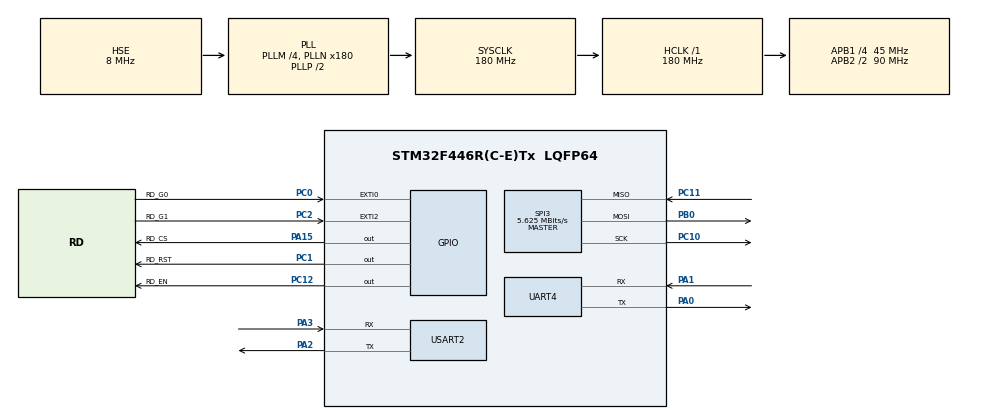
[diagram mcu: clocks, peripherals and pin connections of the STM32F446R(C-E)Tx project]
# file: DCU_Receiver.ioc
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Dma.Request0=USART2_RX
Dma.Request1=USART2_TX
Dma.Request2=SPI3_TX
Dma.Request3=SPI3_RX
Dma.Request4=UART4_RX
Dma.Request5=UART4_TX
Dma.SPI3_RX.3.Direction=DMA_PERIPH_TO_MEMORY
Dma.SPI3_RX.3.FIFOMode=DMA_FIFOMODE_DISABLE
Dma.SPI3_RX.3.Instance=DMA1_Stream0
Dma.SPI3_RX.3.MemDataAlignment=DMA_MDATAALIGN_BYTE
Dma.SPI3_RX.3.MemInc=DMA_MINC_ENABLE
Dma.SPI3_RX.3.Mode=DMA_NORMAL
Dma.SPI3_RX.3.PeriphDataAlignment=DMA_PDATAALIGN_BYTE
Dma.SPI3_RX.3.PeriphInc=DMA_PINC_DISABLE
Dma.SPI3_RX.3.Priority=DMA_PRIORITY_LOW
Dma.SPI3_TX.2.Direction=DMA_MEMORY_TO_PERIPH
Dma.SPI3_TX.2.FIFOMode=DMA_FIFOMODE_DISABLE
Dma.SPI3_TX.2.Instance=DMA1_Stream7
Dma.SPI3_TX.2.MemDataAlignment=DMA_MDATAALIGN_BYTE
Dma.SPI3_TX.2.MemInc=DMA_MINC_ENABLE
Dma.SPI3_TX.2.Mode=DMA_NORMAL
Dma.SPI3_TX.2.PeriphDataAlignment=DMA_PDATAALIGN_BYTE
Dma.SPI3_TX.2.PeriphInc=DMA_PINC_DISABLE
Dma.SPI3_TX.2.Priority=DMA_PRIORITY_LOW
Dma.UART4_RX.4.Direction=DMA_PERIPH_TO_MEMORY
Dma.UART4_RX.4.FIFOMode=DMA_FIFOMODE_DISABLE
Dma.UART4_RX.4.Instance=DMA1_Stream2
Dma.UART4_RX.4.MemDataAlignment=DMA_MDATAALIGN_BYTE
Dma.UART4_RX.4.MemInc=DMA_MINC_ENABLE
Dma.UART4_RX.4.Mode=DMA_CIRCULAR
Dma.UART4_RX.4.PeriphDataAlignment=DMA_PDATAALIGN_BYTE
Dma.UART4_RX.4.PeriphInc=DMA_PINC_DISABLE
Dma.UART4_RX.4.Priority=DMA_PRIORITY_LOW
Dma.UART4_TX.5.Direction=DMA_MEMORY_TO_PERIPH
Dma.UART4_TX.5.FIFOMode=DMA_FIFOMODE_DISABLE
Dma.UART4_TX.5.Instance=DMA1_Stream4
Dma.UART4_TX.5.MemDataAlignment=DMA_MDATAALIGN_BYTE
Dma.UART4_TX.5.MemInc=DMA_MINC_ENABLE
Dma.UART4_TX.5.Mode=DMA_NORMAL
Dma.UART4_TX.5.PeriphDataAlignment=DMA_PDATAALIGN_BYTE
Dma.UART4_TX.5.PeriphInc=DMA_PINC_DISABLE
Dma.UART4_TX.5.Priority=DMA_PRIORITY_LOW
Dma.USART2_RX.0.Direction=DMA_PERIPH_TO_MEMORY
Dma.USART2_RX.0.FIFOMode=DMA_FIFOMODE_DISABLE
Dma.USART2_RX.0.Instance=DMA1_Stream5
Dma.USART2_RX.0.MemDataAlignment=DMA_MDATAALIGN_BYTE
Dma.USART2_RX.0.MemInc=DMA_MINC_ENABLE
Dma.USART2_RX.0.Mode=DMA_CIRCULAR
Dma.USART2_RX.0.PeriphDataAlignment=DMA_PDATAALIGN_BYTE
Dma.USART2_RX.0.PeriphInc=DMA_PINC_DISABLE
Dma.USART2_RX.0.Priority=DMA_PRIORITY_LOW
Dma.USART2_TX.1.Direction=DMA_MEMORY_TO_PERIPH
Dma.USART2_TX.1.FIFOMode=DMA_FIFOMODE_DISABLE
Dma.USART2_TX.1.Instance=DMA1_Stream6
Dma.USART2_TX.1.MemDataAlignment=DMA_MDATAALIGN_BYTE
Dma.USART2_TX.1.MemInc=DMA_MINC_ENABLE
Dma.USART2_TX.1.Mode=DMA_NORMAL
Dma.USART2_TX.1.PeriphDataAlignment=DMA_PDATAALIGN_BYTE
Dma.USART2_TX.1.PeriphInc=DMA_PINC_DISABLE
Dma.USART2_TX.1.Priority=DMA_PRIORITY_LOW
FREERTOS.CountingSemaphores01=uartTxSem,1,Dynamic,NULL,0
FREERTOS.Events01=radioEvents,Dynamic,NULL
FREERTOS.Mutexes01=spiMutex,osMutexPrioInherit,spiMutexCtrlBlock,NULL;uartTxMutex,Dynamic,NULL,Available;logMutex,Dynamic,NULL,Available
FREERTOS.Queues01=rxDataQueue,4,64,1,Dynamic,NULL,NULL;uartRxQueue,8,FEB_UART_RxQueueMsg_t,0,Dynamic,NULL,NULL
FREERTOS.Tasks01=uartRxTask,24,1024,StartUartRxTask,As weak,NULL,Dynamic,NULL,NULL;radioTask,40,512,RadioTask,Default,NULL,Dynamic,NULL,NULL
FREERTOS.Tasks02=radioTask,40,512,RadioTask,Default,NULL,Dynamic,NULL,NULL
FREERTOS.Timers01=rxTimeoutTimer,rxTimeoutCallback,osTimerOnce,NULL,NULL,NULL
FREERTOS.configENABLE_FPU=1
FREERTOS.configTOTAL_HEAP_SIZE=20480
FREERTOS.configUSE_TIMERS=1
Mcu.Family=STM32F4
Mcu.Name=STM32F446R(C-E)Tx
Mcu.Package=LQFP64
NVIC.DMA1_Stream0_IRQn=true\:5\:0\:false\:false\:true\:true\:false\:true\:true
NVIC.DMA1_Stream2_IRQn=true\:5\:0\:false\:false\:true\:true\:false\:true\:true
NVIC.DMA1_Stream4_IRQn=true\:5\:0\:false\:false\:true\:true\:false\:true\:true
NVIC.DMA1_Stream5_IRQn=true\:5\:0\:false\:false\:true\:true\:false\:true\:true
NVIC.DMA1_Stream6_IRQn=true\:5\:0\:false\:false\:true\:true\:false\:true\:true
NVIC.DMA1_Stream7_IRQn=true\:5\:0\:false\:false\:true\:true\:false\:true\:true
NVIC.EXTI0_IRQn=true\:5\:0\:false\:false\:true\:true\:true\:true\:true
NVIC.EXTI2_IRQn=true\:5\:0\:false\:false\:true\:true\:true\:true\:true
NVIC.PriorityGroup=NVIC_PRIORITYGROUP_4
NVIC.SPI3_IRQn=true\:5\:0\:false\:false\:true\:true\:true\:true\:true
NVIC.TIM8_TRG_COM_TIM14_IRQn=true\:15\:0\:false\:false\:true\:false\:false\:true\:true
NVIC.TimeBase=TIM8_TRG_COM_TIM14_IRQn
NVIC.TimeBaseIP=TIM14
NVIC.UART4_IRQn=true\:5\:0\:false\:false\:true\:true\:true\:true\:true
NVIC.USART2_IRQn=true\:5\:0\:false\:false\:true\:true\:true\:true\:true
PA0-WKUP.Mode=Asynchronous
PA0-WKUP.Signal=UART4_TX
PA1.Mode=Asynchronous
PA1.Signal=UART4_RX
PA13.Mode=Serial_Wire
PA13.Signal=SYS_JTMS-SWDIO
PA14.Mode=Serial_Wire
PA14.Signal=SYS_JTCK-SWCLK
PA15.GPIO_Label=RD_CS
PA15.PinState=GPIO_PIN_SET
PA15.Signal=GPIO_Output
PA2.Mode=Asynchronous
PA2.Signal=USART2_TX
PA3.Mode=Asynchronous
PA3.Signal=USART2_RX
PB0.Mode=Full_Duplex_Master
PB0.Signal=SPI3_MOSI
PC0.GPIO_Label=RD_G0
PC0.GPIO_ModeDefaultEXTI=GPIO_MODE_IT_RISING
PC0.Signal=GPXTI0
PC1.GPIO_Label=RD_RST
PC1.Signal=GPIO_Output
PC10.Mode=Full_Duplex_Master
PC10.Signal=SPI3_SCK
PC11.Mode=Full_Duplex_Master
PC11.Signal=SPI3_MISO
PC12.GPIO_Label=RD_EN
PC12.Signal=GPIO_Output
PC2.GPIO_Label=RD_G1
PC2.GPIO_ModeDefaultEXTI=GPIO_MODE_IT_RISING
PC2.Signal=GPXTI2
PH0-OSC_IN.Mode=HSE-External-Oscillator
PH0-OSC_IN.Signal=RCC_OSC_IN
PH1-OSC_OUT.Mode=HSE-External-Oscillator
PH1-OSC_OUT.Signal=RCC_OSC_OUT
ProjectManager.HeapSize=0x200
ProjectManager.StackSize=0x400
ProjectManager.TargetToolchain=CMake
RCC.AHBFreq_Value=180000000
RCC.APB1CLKDivider=RCC_HCLK_DIV4
RCC.APB1Freq_Value=45000000
RCC.APB1TimFreq_Value=90000000
RCC.APB2CLKDivider=RCC_HCLK_DIV2
RCC.APB2Freq_Value=90000000
RCC.APB2TimFreq_Value=180000000
RCC.CortexFreq_Value=180000000
RCC.HCLKFreq_Value=180000000
RCC.HSE_VALUE=8000000
RCC.PLLM=4
RCC.PLLN=180
RCC.PLLSourceVirtual=RCC_PLLSOURCE_HSE
RCC.SYSCLKFreq_VALUE=180000000
RCC.SYSCLKSource=RCC_SYSCLKSOURCE_PLLCLK
RCC.USBFreq_Value=180000000
RCC.VCOOutputFreq_Value=360000000
SPI3.BaudRatePrescaler=SPI_BAUDRATEPRESCALER_8
SPI3.CalculateBaudRate=5.625 MBits/s
SPI3.Direction=SPI_DIRECTION_2LINES
SPI3.Mode=SPI_MODE_MASTER
SPI3.VirtualType=VM_MASTER
UART4.VirtualMode=Asynchronous
USART2.VirtualMode=VM_ASYNC
VP_FREERTOS_VS_CMSIS_V2.Mode=CMSIS_V2
VP_SYS_VS_tim14.Mode=TIM14
board=custom

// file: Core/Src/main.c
/* USER CODE BEGIN Header */
/**
  ******************************************************************************
  * @file           : main.c
  * @brief          : Main program body
  ******************************************************************************
  * @attention
  *
  * Copyright (c) 2026 STMicroelectronics.
  * All rights reserved.
  *
  * This software is licensed under terms that can be found in the LICENSE file
  * in the root directory of this software component.
  * If no LICENSE file comes with this software, it is provided AS-IS.
  *
  ******************************************************************************
  */
/* USER CODE END Header */
#include "main.h"
#include "cmsis_os.h"
#include "dma.h"
#include "spi.h"
#include "usart.h"
#include "gpio.h"

/* USER CODE BEGIN Includes */
#include "feb_uart.h"
/* USER CODE END Includes */

void SystemClock_Config(void);
void MX_FREERTOS_Init(void);

int main(void)
{

  /* MCU Configuration--------------------------------------------------------*/

  /* Reset of all peripherals, Initializes the Flash interface and the Systick. */
  HAL_Init();

  /* Configure the system clock */
  SystemClock_Config();

  /* Initialize all configured peripherals */
  MX_GPIO_Init();
  MX_DMA_Init();
  MX_USART2_UART_Init();
  MX_SPI3_Init();
  MX_UART4_Init();

  /* Init scheduler */
  osKernelInitialize();  /* Call init function for freertos objects (in cmsis_os2.c) */
  MX_FREERTOS_Init();

  /* Start scheduler */
  osKernelStart();

  /* We should never get here as control is now taken by the scheduler */

  /* Infinite loop */
  while (1)
  {

  }
}

void SystemClock_Config(void)
{
  RCC_OscInitTypeDef RCC_OscInitStruct = {0};
  RCC_ClkInitTypeDef RCC_ClkInitStruct = {0};

  /** Configure the main internal regulator output voltage
  */
  __HAL_RCC_PWR_CLK_ENABLE();
  __HAL_PWR_VOLTAGESCALING_CONFIG(PWR_REGULATOR_VOLTAGE_SCALE1);

  /** Initializes the RCC Oscillators according to the specified parameters
  * in the RCC_OscInitTypeDef structure.
  */
  RCC_OscInitStruct.OscillatorType = RCC_OSCILLATORTYPE_HSE;
  RCC_OscInitStruct.HSEState = RCC_HSE_ON;
  RCC_OscInitStruct.PLL.PLLState = RCC_PLL_ON;
  RCC_OscInitStruct.PLL.PLLSource = RCC_PLLSOURCE_HSE;
  RCC_OscInitStruct.PLL.PLLM = 4;
  RCC_OscInitStruct.PLL.PLLN = 180;
  RCC_OscInitStruct.PLL.PLLP = RCC_PLLP_DIV2;
  RCC_OscInitStruct.PLL.PLLQ = 2;
  RCC_OscInitStruct.PLL.PLLR = 2;
  if (HAL_RCC_OscConfig(&RCC_OscInitStruct) != HAL_OK)
  {
    Error_Handler();
  }

  /** Activate the Over-Drive mode
  */
  if (HAL_PWREx_EnableOverDrive() != HAL_OK)
  {
    Error_Handler();
  }

  /** Initializes the CPU, AHB and APB buses clocks
  */
  RCC_ClkInitStruct.ClockType = RCC_CLOCKTYPE_HCLK|RCC_CLOCKTYPE_SYSCLK
                              |RCC_CLOCKTYPE_PCLK1|RCC_CLOCKTYPE_PCLK2;
  RCC_ClkInitStruct.SYSCLKSource = RCC_SYSCLKSOURCE_PLLCLK;
  RCC_ClkInitStruct.AHBCLKDivider = RCC_SYSCLK_DIV1;
  RCC_ClkInitStruct.APB1CLKDivider = RCC_HCLK_DIV4;
  RCC_ClkInitStruct.APB2CLKDivider = RCC_HCLK_DIV2;

  if (HAL_RCC_ClockConfig(&RCC_ClkInitStruct, FLASH_LATENCY_5) != HAL_OK)
  {
    Error_Handler();
  }
}

/* USER CODE BEGIN 4 */
/* UART Callbacks - route to FEB UART Library */
void HAL_UART_TxCpltCallback(UART_HandleTypeDef *huart)
{
  FEB_UART_TxCpltCallback(huart);
}

void HAL_UARTEx_RxEventCallback(UART_HandleTypeDef *huart, uint16_t Size)
{
  FEB_UART_RxEventCallback(huart, Size);
}
/* USER CODE END 4 */

void HAL_TIM_PeriodElapsedCallback(TIM_HandleTypeDef *htim)
{
  if (htim->Instance == TIM14)
  {
    HAL_IncTick();
  }
}

void Error_Handler(void)
{
  __disable_irq();
  while (1)
  {
  }
}

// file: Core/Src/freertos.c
/* USER CODE BEGIN Header */
/**
  ******************************************************************************
  * File Name          : freertos.c
  * Description        : Code for freertos applications
  ******************************************************************************
  * @attention
  *
  * Copyright (c) 2026 STMicroelectronics.
  * All rights reserved.
  *
  * This software is licensed under terms that can be found in the LICENSE file
  * in the root directory of this software component.
  * If no LICENSE file comes with this software, it is provided AS-IS.
  *
  ******************************************************************************
  */
/* USER CODE END Header */

#include "FreeRTOS.h"
#include "task.h"
#include "main.h"
#include "cmsis_os.h"

/* USER CODE BEGIN Includes */
#include "FEB_Task_Radio.h"
#include "feb_rtos_utils.h"
#include "feb_uart.h"
#include "FEB_Main.h"
/* USER CODE END Includes */

typedef StaticSemaphore_t osStaticMutexDef_t;

/* USER CODE BEGIN Variables */
/* Second UART (UART4) console: thread + sync primitives for FEB_UART_INSTANCE_2 */
osThreadId_t uart4RxTaskHandle;
const osThreadAttr_t uart4RxTask_attributes = {
  .name = "uart4RxTask",
  .stack_size = 1024 * 4,
  .priority = (osPriority_t) osPriorityNormal,
};
osMutexId_t uartTxMutex2Handle;
const osMutexAttr_t uartTxMutex2_attributes = {
  .name = "uartTxMutex2"
};
osSemaphoreId_t uartTxSem2Handle;
const osSemaphoreAttr_t uartTxSem2_attributes = {
  .name = "uartTxSem2"
};
osMessageQueueId_t uartRxQueue2Handle;
const osMessageQueueAttr_t uartRxQueue2_attributes = {
  .name = "uartRxQueue2"
};
/* USER CODE END Variables */
/* Definitions for uartRxTask */
osThreadId_t uartRxTaskHandle;
const osThreadAttr_t uartRxTask_attributes = {
  .name = "uartRxTask",
  .stack_size = 1024 * 4,
  .priority = (osPriority_t) osPriorityNormal,
};
/* Definitions for radioTask */
osThreadId_t radioTaskHandle;
const osThreadAttr_t radioTask_attributes = {
  .name = "radioTask",
  .stack_size = 512 * 4,
  .priority = (osPriority_t) osPriorityHigh,
};
/* Definitions for rxDataQueue */
osMessageQueueId_t rxDataQueueHandle;
const osMessageQueueAttr_t rxDataQueue_attributes = {
  .name = "rxDataQueue"
};
/* Definitions for uartRxQueue */
osMessageQueueId_t uartRxQueueHandle;
const osMessageQueueAttr_t uartRxQueue_attributes = {
  .name = "uartRxQueue"
};
/* Definitions for rxTimeoutTimer */
osTimerId_t rxTimeoutTimerHandle;
const osTimerAttr_t rxTimeoutTimer_attributes = {
  .name = "rxTimeoutTimer"
};
/* Definitions for spiMutex */
osMutexId_t spiMutexHandle;
osStaticMutexDef_t spiMutexCtrlBlock;
const osMutexAttr_t spiMutex_attributes = {
  .name = "spiMutex",
  .cb_mem = &spiMutexCtrlBlock,
  .cb_size = sizeof(spiMutexCtrlBlock),
};
/* Definitions for uartTxMutex */
osMutexId_t uartTxMutexHandle;
const osMutexAttr_t uartTxMutex_attributes = {
  .name = "uartTxMutex"
};
/* Definitions for logMutex */
osMutexId_t logMutexHandle;
const osMutexAttr_t logMutex_attributes = {
  .name = "logMutex"
};
/* Definitions for uartTxSem */
osSemaphoreId_t uartTxSemHandle;
const osSemaphoreAttr_t uartTxSem_attributes = {
  .name = "uartTxSem"
};
/* Definitions for radioEvents */
osEventFlagsId_t radioEventsHandle;
const osEventFlagsAttr_t radioEvents_attributes = {
  .name = "radioEvents"
};

void StartUartRxTask(void *argument);
void RadioTask(void *argument);
void rxTimeoutCallback(void *argument);

void MX_FREERTOS_Init(void); /* (MISRA C 2004 rule 8.1) */

void MX_FREERTOS_Init(void) {
  /* Create the mutex(es) */
  /* creation of spiMutex */
  spiMutexHandle = osMutexNew(&spiMutex_attributes);

  /* creation of uartTxMutex */
  uartTxMutexHandle = osMutexNew(&uartTxMutex_attributes);

  /* creation of logMutex */
  logMutexHandle = osMutexNew(&logMutex_attributes);

  /* USER CODE BEGIN RTOS_MUTEX */
  uartTxMutex2Handle = osMutexNew(&uartTxMutex2_attributes);
  /* USER CODE END RTOS_MUTEX */

  /* Create the semaphores(s) */
  /* creation of uartTxSem */
  uartTxSemHandle = osSemaphoreNew(1, 0, &uartTxSem_attributes);

  /* USER CODE BEGIN RTOS_SEMAPHORES */
  uartTxSem2Handle = osSemaphoreNew(1, 0, &uartTxSem2_attributes);
  /* USER CODE END RTOS_SEMAPHORES */

  /* Create the timer(s) */
  /* creation of rxTimeoutTimer */
  rxTimeoutTimerHandle = osTimerNew(rxTimeoutCallback, osTimerOnce, NULL, &rxTimeoutTimer_attributes);

  /* Create the queue(s) */
  /* creation of rxDataQueue */
  rxDataQueueHandle = osMessageQueueNew (4, 64, &rxDataQueue_attributes);

  /* creation of uartRxQueue */
  uartRxQueueHandle = osMessageQueueNew (8, sizeof(FEB_UART_RxQueueMsg_t), &uartRxQueue_attributes);

  /* USER CODE BEGIN RTOS_QUEUES */
  uartRxQueue2Handle = osMessageQueueNew(8, sizeof(FEB_UART_RxQueueMsg_t), &uartRxQueue2_attributes);
  /* USER CODE END RTOS_QUEUES */

  /* Create the thread(s) */
  /* creation of uartRxTask */
  uartRxTaskHandle = osThreadNew(StartUartRxTask, NULL, &uartRxTask_attributes);

  /* creation of radioTask */
  radioTaskHandle = osThreadNew(RadioTask, NULL, &radioTask_attributes);

  /* USER CODE BEGIN RTOS_THREADS */
  uart4RxTaskHandle = osThreadNew(StartUart4RxTask, NULL, &uart4RxTask_attributes);
  REQUIRE_RTOS_HANDLE(spiMutexHandle);
  REQUIRE_RTOS_HANDLE(uartTxMutexHandle);
  REQUIRE_RTOS_HANDLE(logMutexHandle);
  REQUIRE_RTOS_HANDLE(uartTxSemHandle);
  REQUIRE_RTOS_HANDLE(uartRxQueueHandle);
  REQUIRE_RTOS_HANDLE(rxTimeoutTimerHandle);
  REQUIRE_RTOS_HANDLE(rxDataQueueHandle);
  REQUIRE_RTOS_HANDLE(uartRxTaskHandle);
  REQUIRE_RTOS_HANDLE(radioTaskHandle);
  REQUIRE_RTOS_HANDLE(uartTxMutex2Handle);
  REQUIRE_RTOS_HANDLE(uartTxSem2Handle);
  REQUIRE_RTOS_HANDLE(uartRxQueue2Handle);
  REQUIRE_RTOS_HANDLE(uart4RxTaskHandle);
  /* USER CODE END RTOS_THREADS */

  /* creation of radioEvents */
  radioEventsHandle = osEventFlagsNew(&radioEvents_attributes);

  /* USER CODE BEGIN RTOS_EVENTS */
  REQUIRE_RTOS_HANDLE(radioEventsHandle);
  /* Initialize FEB libraries after FreeRTOS objects are created */
  FEB_Init();
  /* USER CODE END RTOS_EVENTS */

}

__weak void StartUartRxTask(void *argument)
{
  for(;;)
  {
    osDelay(1);
  }
}

void RadioTask(void *argument)
{
  /* USER CODE BEGIN RadioTask */
  StartRadioTask(argument);
  /* USER CODE END RadioTask */
}

/* rxTimeoutCallback function */
void rxTimeoutCallback(void *argument)
{
  /* USER CODE BEGIN rxTimeoutCallback */
  (void)argument;
  /* Timer not used - FEB_RFM95 handles timeouts internally via osEventFlagsWait */
  /* USER CODE END rxTimeoutCallback */
}
